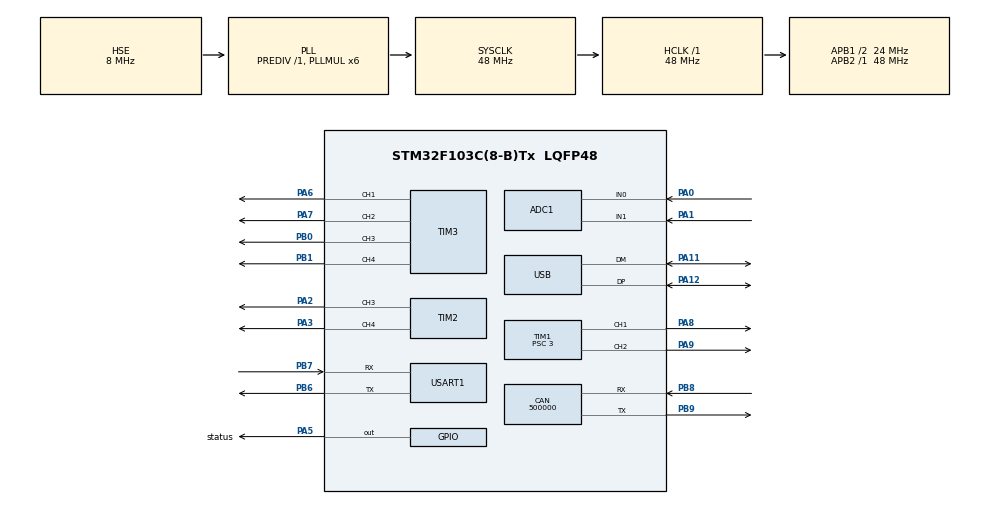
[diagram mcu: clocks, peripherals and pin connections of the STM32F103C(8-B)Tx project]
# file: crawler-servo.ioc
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ADC1.Channel-0\#ChannelRegularConversion=ADC_CHANNEL_0
ADC1.NbrOfConversionFlag=1
ADC1.Rank-0\#ChannelRegularConversion=1
ADC1.SamplingTime-0\#ChannelRegularConversion=ADC_SAMPLETIME_1CYCLE_5
ADC1.master=1
CAN.CalculateBaudRate=500000
CAN.CalculateTimeBit=2000
CAN.CalculateTimeQuantum=666.6666666666666
Mcu.Family=STM32F1
Mcu.Name=STM32F103C(8-B)Tx
Mcu.Package=LQFP48
NVIC.PriorityGroup=NVIC_PRIORITYGROUP_4
NVIC.USB_LP_CAN1_RX0_IRQn=true\:0\:0\:false\:false\:true\:true\:true\:true
PA0-WKUP.Signal=ADCx_IN0
PA1.Signal=ADCx_IN1
PA11.Mode=Device
PA11.Signal=USB_DM
PA12.Mode=Device
PA12.Signal=USB_DP
PA13.Signal=SYS_JTMS-SWDIO
PA14.Signal=SYS_JTCK-SWCLK
PA15.Signal=SYS_JTDI
PA2.Signal=S_TIM2_CH3
PA3.Signal=S_TIM2_CH4
PA5.GPIO_Label=status
PA5.Signal=GPIO_Output
PA6.Signal=S_TIM3_CH1
PA7.Signal=S_TIM3_CH2
PA8.Signal=S_TIM1_CH1
PA9.Signal=S_TIM1_CH2
PB0.Signal=S_TIM3_CH3
PB1.Signal=S_TIM3_CH4
PB3.Signal=SYS_JTDO-TRACESWO
PB6.Mode=Asynchronous
PB6.Signal=USART1_TX
PB7.Mode=Asynchronous
PB7.Signal=USART1_RX
PB8.Mode=CAN_Activate
PB8.Signal=CAN_RX
PB9.Mode=CAN_Activate
PB9.Signal=CAN_TX
PC14-OSC32_IN.Mode=LSE-External-Oscillator
PC14-OSC32_IN.Signal=RCC_OSC32_IN
PC15-OSC32_OUT.Mode=LSE-External-Oscillator
PC15-OSC32_OUT.Signal=RCC_OSC32_OUT
PD0-OSC_IN.Mode=HSE-External-Oscillator
PD0-OSC_IN.Signal=RCC_OSC_IN
PD1-OSC_OUT.Mode=HSE-External-Oscillator
PD1-OSC_OUT.Signal=RCC_OSC_OUT
ProjectManager.HeapSize=0x200
ProjectManager.StackSize=0x400
ProjectManager.TargetToolchain=Makefile
RCC.ADCPresc=RCC_ADCPCLK2_DIV4
RCC.AHBFreq_Value=48000000
RCC.APB1CLKDivider=RCC_HCLK_DIV2
RCC.APB1Freq_Value=24000000
RCC.APB1TimFreq_Value=48000000
RCC.APB2Freq_Value=48000000
RCC.APB2TimFreq_Value=48000000
RCC.HCLKFreq_Value=48000000
RCC.PLLMUL=RCC_PLL_MUL6
RCC.SYSCLKFreq_VALUE=48000000
RCC.SYSCLKSource=RCC_SYSCLKSOURCE_PLLCLK
RCC.USBFreq_Value=48000000
SH.ADCx_IN0.0=ADC1_IN0,IN0
SH.ADCx_IN1.0=ADC1_IN1,IN1
SH.S_TIM1_CH1.0=TIM1_CH1,PWM Generation1 CH1
SH.S_TIM1_CH2.0=TIM1_CH2,PWM Generation2 CH2
SH.S_TIM2_CH3.0=TIM2_CH3,PWM Generation3 CH3
SH.S_TIM2_CH4.0=TIM2_CH4,PWM Generation4 CH4
SH.S_TIM3_CH1.0=TIM3_CH1,PWM Generation1 CH1
SH.S_TIM3_CH2.0=TIM3_CH2,PWM Generation2 CH2
SH.S_TIM3_CH3.0=TIM3_CH3,PWM Generation3 CH3
SH.S_TIM3_CH4.0=TIM3_CH4,PWM Generation4 CH4
TIM1.Channel-Output\ Compare4\ No\ Output=TIM_CHANNEL_4
TIM1.Channel-PWM\ Generation1\ CH1=TIM_CHANNEL_1
TIM1.Channel-PWM\ Generation2\ CH2=TIM_CHANNEL_2
TIM1.Channel-PWM\ Generation3\ No\ Output=TIM_CHANNEL_3
TIM1.ClockDivision=TIM_CLOCKDIVISION_DIV1
TIM1.Period=40000
TIM1.Prescaler=3
TIM2.Channel-PWM\ Generation3\ CH3=TIM_CHANNEL_3
TIM2.Channel-PWM\ Generation4\ CH4=TIM_CHANNEL_4
TIM3.Channel-PWM\ Generation1\ CH1=TIM_CHANNEL_1
TIM3.Channel-PWM\ Generation2\ CH2=TIM_CHANNEL_2
TIM3.Channel-PWM\ Generation3\ CH3=TIM_CHANNEL_3
TIM3.Channel-PWM\ Generation4\ CH4=TIM_CHANNEL_4
USART1.VirtualMode=VM_ASYNC
VP_SYS_VS_ND.Mode=No_Debug
VP_TIM1_VS_ClockSourceINT.Mode=Internal
VP_TIM1_VS_no_output3.Mode=PWM Generation3 No Output
VP_TIM1_VS_no_output4.Mode=Output Compare4 No Output
VP_TIM2_VS_ClockSourceINT.Mode=Internal
VP_TIM3_VS_ClockSourceINT.Mode=Internal
board=custom

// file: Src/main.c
/* USER CODE BEGIN Header */
/**
  ******************************************************************************
  * @file           : main.c
  * @brief          : Main program body
  ******************************************************************************
  * @attention
  *
  * Copyright (c) 2023 STMicroelectronics.
  * All rights reserved.
  *
  * This software is licensed under terms that can be found in the LICENSE file
  * in the root directory of this software component.
  * If no LICENSE file comes with this software, it is provided AS-IS.
  *
  ******************************************************************************
  */
/* USER CODE END Header */
#include "main.h"

ADC_HandleTypeDef hadc1;

CAN_HandleTypeDef hcan;

TIM_HandleTypeDef htim1;
TIM_HandleTypeDef htim2;
TIM_HandleTypeDef htim3;

UART_HandleTypeDef huart1;

PCD_HandleTypeDef hpcd_USB_FS;

/* USER CODE BEGIN PV */
CAN_RxHeaderTypeDef rxHeader; //CAN Bus Transmit Header
CAN_TxHeaderTypeDef txHeader; //CAN Bus Receive Header
uint8_t canRX[8] = {0,0,0,0,0,0,0,0};  //CAN Bus Receive Buffer
CAN_FilterTypeDef canfil; //CAN Bus Filter
uint32_t canMailbox; //CAN Bus Mail box variable
/* USER CODE END PV */

void SystemClock_Config(void);
static void MX_GPIO_Init(void);
static void MX_ADC1_Init(void);
static void MX_CAN_Init(void);
static void MX_TIM1_Init(void);
static void MX_TIM2_Init(void);
static void MX_TIM3_Init(void);
static void MX_USART1_UART_Init(void);
static void MX_USB_PCD_Init(void);

int main(void)
{

  /* MCU Configuration--------------------------------------------------------*/

  /* Reset of all peripherals, Initializes the Flash interface and the Systick. */
  HAL_Init();

  /* Configure the system clock */
  SystemClock_Config();

  /* Initialize all configured peripherals */
  MX_GPIO_Init();
  MX_ADC1_Init();
  MX_CAN_Init();
  MX_TIM1_Init();
  MX_TIM2_Init();
  MX_TIM3_Init();
  MX_USART1_UART_Init();
  MX_USB_PCD_Init();
  /* USER CODE BEGIN 2 */

    //HAL_CAN_Start(&hcan);
  txHeader.DLC = 8;
  txHeader.IDE = CAN_ID_STD;
  txHeader.RTR = CAN_RTR_DATA;
  txHeader.StdId = 0x030;
  txHeader.ExtId = 0x02;
  txHeader.TransmitGlobalTime = DISABLE;

  canfil.FilterBank = 0;
  canfil.FilterMode = CAN_FILTERMODE_IDMASK;
  canfil.FilterFIFOAssignment = CAN_RX_FIFO0;
  canfil.FilterIdHigh = 0;
  canfil.FilterIdLow = 0;
  canfil.FilterMaskIdHigh = 0;
  canfil.FilterMaskIdLow = 0;
  canfil.FilterScale = CAN_FILTERSCALE_32BIT;
  canfil.FilterActivation = ENABLE;
  canfil.SlaveStartFilterBank = 14;
  HAL_CAN_ConfigFilter(&hcan,&canfil); //Initialize CAN Filter
  HAL_CAN_Start(&hcan); //Initialize CAN Bus
  HAL_CAN_ActivateNotification(&hcan,CAN_IT_RX_FIFO0_MSG_PENDING);// Initialize CAN Bus Rx Interrupt

  //TIM1->CCR1 = 30;
  HAL_TIM_Base_Start_IT(&htim1);
  HAL_TIM_PWM_Start(&htim1, TIM_CHANNEL_1);
  //__HAL_TIM_SET_COMPARE(&htim1, TIM_CHANNEL_1, 200);
  /* USER CODE END 2 */

  /* Infinite loop */
  /* USER CODE BEGIN WHILE */
  uint32_t txMailbox;
  while (1)
  {
    HAL_GPIO_WritePin(status_GPIO_Port, status_Pin, GPIO_PIN_SET);
	// transmit
	if (HAL_CAN_GetTxMailboxesFreeLevel(&hcan) > 0){
	    //CAN_TxHeaderTypedef txHeader;
		uint8_t data[] = {0xa,0xf};
		HAL_CAN_AddTxMessage(&hcan, &txHeader, data, &txMailbox);
	}

	//receive
    /*
	uint8_t data[8];
	CAN_RxHeaderTypeDef rxHeader;
	while (HAL_CAN_GetRxFifoFillLevel(&hcan, CAN_RX_FIFO0)){
		HAL_CAN_GetRxMessage(&hcan, CAN_RX_FIFO0, &rxHeader, data);

		//channel = rxId - BASE_ADRESS;

		// check that channel is valid
		//if ( channel > 3 )
		//	return 1;

		// check that data is within range
		//if ( rxData > SERVO_RESOLUTION )
		//	 return 2;

		// translate given value to servo pwm
		//pwmValue = ( PWM_MIN + PWM_RANGE * rxData/SERVO_RESOLUTION ) / PWM_PERIOD;

		// set pwm
		//pwm( channel, pwmValue );
	}*/
    HAL_GPIO_WritePin(status_GPIO_Port, status_Pin, GPIO_PIN_RESET);
    HAL_Delay(1000);
    /* USER CODE END WHILE */

  }
}

void SystemClock_Config(void)
{
  RCC_OscInitTypeDef RCC_OscInitStruct = {0};
  RCC_ClkInitTypeDef RCC_ClkInitStruct = {0};
  RCC_PeriphCLKInitTypeDef PeriphClkInit = {0};

  /** Initializes the RCC Oscillators according to the specified parameters
  * in the RCC_OscInitTypeDef structure.
  */
  RCC_OscInitStruct.OscillatorType = RCC_OSCILLATORTYPE_HSE;
  RCC_OscInitStruct.HSEState = RCC_HSE_ON;
  RCC_OscInitStruct.HSEPredivValue = RCC_HSE_PREDIV_DIV1;
  RCC_OscInitStruct.HSIState = RCC_HSI_ON;
  RCC_OscInitStruct.PLL.PLLState = RCC_PLL_ON;
  RCC_OscInitStruct.PLL.PLLSource = RCC_PLLSOURCE_HSE;
  RCC_OscInitStruct.PLL.PLLMUL = RCC_PLL_MUL6;
  if (HAL_RCC_OscConfig(&RCC_OscInitStruct) != HAL_OK)
  {
    Error_Handler();
  }

  /** Initializes the CPU, AHB and APB buses clocks
  */
  RCC_ClkInitStruct.ClockType = RCC_CLOCKTYPE_HCLK|RCC_CLOCKTYPE_SYSCLK
                              |RCC_CLOCKTYPE_PCLK1|RCC_CLOCKTYPE_PCLK2;
  RCC_ClkInitStruct.SYSCLKSource = RCC_SYSCLKSOURCE_PLLCLK;
  RCC_ClkInitStruct.AHBCLKDivider = RCC_SYSCLK_DIV1;
  RCC_ClkInitStruct.APB1CLKDivider = RCC_HCLK_DIV2;
  RCC_ClkInitStruct.APB2CLKDivider = RCC_HCLK_DIV1;

  if (HAL_RCC_ClockConfig(&RCC_ClkInitStruct, FLASH_LATENCY_1) != HAL_OK)
  {
    Error_Handler();
  }
  PeriphClkInit.PeriphClockSelection = RCC_PERIPHCLK_ADC|RCC_PERIPHCLK_USB;
  PeriphClkInit.AdcClockSelection = RCC_ADCPCLK2_DIV4;
  PeriphClkInit.UsbClockSelection = RCC_USBCLKSOURCE_PLL;
  if (HAL_RCCEx_PeriphCLKConfig(&PeriphClkInit) != HAL_OK)
  {
    Error_Handler();
  }
}

static void MX_ADC1_Init(void)
{

  ADC_ChannelConfTypeDef sConfig = {0};

  /** Common config
  */
  hadc1.Instance = ADC1;
  hadc1.Init.ScanConvMode = ADC_SCAN_DISABLE;
  hadc1.Init.ContinuousConvMode = DISABLE;
  hadc1.Init.DiscontinuousConvMode = DISABLE;
  hadc1.Init.ExternalTrigConv = ADC_SOFTWARE_START;
  hadc1.Init.DataAlign = ADC_DATAALIGN_RIGHT;
  hadc1.Init.NbrOfConversion = 1;
  if (HAL_ADC_Init(&hadc1) != HAL_OK)
  {
    Error_Handler();
  }

  /** Configure Regular Channel
  */
  sConfig.Channel = ADC_CHANNEL_0;
  sConfig.Rank = ADC_REGULAR_RANK_1;
  sConfig.SamplingTime = ADC_SAMPLETIME_1CYCLE_5;
  if (HAL_ADC_ConfigChannel(&hadc1, &sConfig) != HAL_OK)
  {
    Error_Handler();
  }

}

static void MX_CAN_Init(void)
{

  hcan.Instance = CAN1;
  hcan.Init.Prescaler = 16;
  hcan.Init.Mode = CAN_MODE_NORMAL;
  hcan.Init.SyncJumpWidth = CAN_SJW_1TQ;
  hcan.Init.TimeSeg1 = CAN_BS1_1TQ;
  hcan.Init.TimeSeg2 = CAN_BS2_1TQ;
  hcan.Init.TimeTriggeredMode = DISABLE;
  hcan.Init.AutoBusOff = DISABLE;
  hcan.Init.AutoWakeUp = DISABLE;
  hcan.Init.AutoRetransmission = DISABLE;
  hcan.Init.ReceiveFifoLocked = DISABLE;
  hcan.Init.TransmitFifoPriority = DISABLE;
  if (HAL_CAN_Init(&hcan) != HAL_OK)
  {
    Error_Handler();
  }

}

static void MX_TIM1_Init(void)
{

  TIM_ClockConfigTypeDef sClockSourceConfig = {0};
  TIM_MasterConfigTypeDef sMasterConfig = {0};
  TIM_OC_InitTypeDef sConfigOC = {0};
  TIM_BreakDeadTimeConfigTypeDef sBreakDeadTimeConfig = {0};

  htim1.Instance = TIM1;
  htim1.Init.Prescaler = 3;
  htim1.Init.CounterMode = TIM_COUNTERMODE_UP;
  htim1.Init.Period = 40000;
  htim1.Init.ClockDivision = TIM_CLOCKDIVISION_DIV1;
  htim1.Init.RepetitionCounter = 0;
  htim1.Init.AutoReloadPreload = TIM_AUTORELOAD_PRELOAD_DISABLE;
  if (HAL_TIM_Base_Init(&htim1) != HAL_OK)
  {
    Error_Handler();
  }
  sClockSourceConfig.ClockSource = TIM_CLOCKSOURCE_INTERNAL;
  if (HAL_TIM_ConfigClockSource(&htim1, &sClockSourceConfig) != HAL_OK)
  {
    Error_Handler();
  }
  if (HAL_TIM_PWM_Init(&htim1) != HAL_OK)
  {
    Error_Handler();
  }
  if (HAL_TIM_OC_Init(&htim1) != HAL_OK)
  {
    Error_Handler();
  }
  sMasterConfig.MasterOutputTrigger = TIM_TRGO_RESET;
  sMasterConfig.MasterSlaveMode = TIM_MASTERSLAVEMODE_DISABLE;
  if (HAL_TIMEx_MasterConfigSynchronization(&htim1, &sMasterConfig) != HAL_OK)
  {
    Error_Handler();
  }
  sConfigOC.OCMode = TIM_OCMODE_PWM1;
  sConfigOC.Pulse = 0;
  sConfigOC.OCPolarity = TIM_OCPOLARITY_HIGH;
  sConfigOC.OCNPolarity = TIM_OCNPOLARITY_HIGH;
  sConfigOC.OCFastMode = TIM_OCFAST_DISABLE;
  sConfigOC.OCIdleState = TIM_OCIDLESTATE_RESET;
  sConfigOC.OCNIdleState = TIM_OCNIDLESTATE_RESET;
  if (HAL_TIM_PWM_ConfigChannel(&htim1, &sConfigOC, TIM_CHANNEL_1) != HAL_OK)
  {
    Error_Handler();
  }
  if (HAL_TIM_PWM_ConfigChannel(&htim1, &sConfigOC, TIM_CHANNEL_2) != HAL_OK)
  {
    Error_Handler();
  }
  if (HAL_TIM_PWM_ConfigChannel(&htim1, &sConfigOC, TIM_CHANNEL_3) != HAL_OK)
  {
    Error_Handler();
  }
  sConfigOC.OCMode = TIM_OCMODE_TIMING;
  if (HAL_TIM_OC_ConfigChannel(&htim1, &sConfigOC, TIM_CHANNEL_4) != HAL_OK)
  {
    Error_Handler();
  }
  sBreakDeadTimeConfig.OffStateRunMode = TIM_OSSR_DISABLE;
  sBreakDeadTimeConfig.OffStateIDLEMode = TIM_OSSI_DISABLE;
  sBreakDeadTimeConfig.LockLevel = TIM_LOCKLEVEL_OFF;
  sBreakDeadTimeConfig.DeadTime = 0;
  sBreakDeadTimeConfig.BreakState = TIM_BREAK_DISABLE;
  sBreakDeadTimeConfig.BreakPolarity = TIM_BREAKPOLARITY_HIGH;
  sBreakDeadTimeConfig.AutomaticOutput = TIM_AUTOMATICOUTPUT_DISABLE;
  if (HAL_TIMEx_ConfigBreakDeadTime(&htim1, &sBreakDeadTimeConfig) != HAL_OK)
  {
    Error_Handler();
  }
  HAL_TIM_MspPostInit(&htim1);

}

static void MX_TIM2_Init(void)
{

  TIM_ClockConfigTypeDef sClockSourceConfig = {0};
  TIM_MasterConfigTypeDef sMasterConfig = {0};
  TIM_OC_InitTypeDef sConfigOC = {0};

  htim2.Instance = TIM2;
  htim2.Init.Prescaler = 0;
  htim2.Init.CounterMode = TIM_COUNTERMODE_UP;
  htim2.Init.Period = 65535;
  htim2.Init.ClockDivision = TIM_CLOCKDIVISION_DIV1;
  htim2.Init.AutoReloadPreload = TIM_AUTORELOAD_PRELOAD_DISABLE;
  if (HAL_TIM_Base_Init(&htim2) != HAL_OK)
  {
    Error_Handler();
  }
  sClockSourceConfig.ClockSource = TIM_CLOCKSOURCE_INTERNAL;
  if (HAL_TIM_ConfigClockSource(&htim2, &sClockSourceConfig) != HAL_OK)
  {
    Error_Handler();
  }
  if (HAL_TIM_PWM_Init(&htim2) != HAL_OK)
  {
    Error_Handler();
  }
  sMasterConfig.MasterOutputTrigger = TIM_TRGO_RESET;
  sMasterConfig.MasterSlaveMode = TIM_MASTERSLAVEMODE_DISABLE;
  if (HAL_TIMEx_MasterConfigSynchronization(&htim2, &sMasterConfig) != HAL_OK)
  {
    Error_Handler();
  }
  sConfigOC.OCMode = TIM_OCMODE_PWM1;
  sConfigOC.Pulse = 0;
  sConfigOC.OCPolarity = TIM_OCPOLARITY_HIGH;
  sConfigOC.OCFastMode = TIM_OCFAST_DISABLE;
  if (HAL_TIM_PWM_ConfigChannel(&htim2, &sConfigOC, TIM_CHANNEL_3) != HAL_OK)
  {
    Error_Handler();
  }
  if (HAL_TIM_PWM_ConfigChannel(&htim2, &sConfigOC, TIM_CHANNEL_4) != HAL_OK)
  {
    Error_Handler();
  }
  HAL_TIM_MspPostInit(&htim2);

}

static void MX_TIM3_Init(void)
{

  TIM_ClockConfigTypeDef sClockSourceConfig = {0};
  TIM_MasterConfigTypeDef sMasterConfig = {0};
  TIM_OC_InitTypeDef sConfigOC = {0};

  htim3.Instance = TIM3;
  htim3.Init.Prescaler = 0;
  htim3.Init.CounterMode = TIM_COUNTERMODE_UP;
  htim3.Init.Period = 65535;
  htim3.Init.ClockDivision = TIM_CLOCKDIVISION_DIV1;
  htim3.Init.AutoReloadPreload = TIM_AUTORELOAD_PRELOAD_DISABLE;
  if (HAL_TIM_Base_Init(&htim3) != HAL_OK)
  {
    Error_Handler();
  }
  sClockSourceConfig.ClockSource = TIM_CLOCKSOURCE_INTERNAL;
  if (HAL_TIM_ConfigClockSource(&htim3, &sClockSourceConfig) != HAL_OK)
  {
    Error_Handler();
  }
  if (HAL_TIM_PWM_Init(&htim3) != HAL_OK)
  {
    Error_Handler();
  }
  sMasterConfig.MasterOutputTrigger = TIM_TRGO_RESET;
  sMasterConfig.MasterSlaveMode = TIM_MASTERSLAVEMODE_DISABLE;
  if (HAL_TIMEx_MasterConfigSynchronization(&htim3, &sMasterConfig) != HAL_OK)
  {
    Error_Handler();
  }
  sConfigOC.OCMode = TIM_OCMODE_PWM1;
  sConfigOC.Pulse = 0;
  sConfigOC.OCPolarity = TIM_OCPOLARITY_HIGH;
  sConfigOC.OCFastMode = TIM_OCFAST_DISABLE;
  if (HAL_TIM_PWM_ConfigChannel(&htim3, &sConfigOC, TIM_CHANNEL_1) != HAL_OK)
  {
    Error_Handler();
  }
  if (HAL_TIM_PWM_ConfigChannel(&htim3, &sConfigOC, TIM_CHANNEL_2) != HAL_OK)
  {
    Error_Handler();
  }
  if (HAL_TIM_PWM_ConfigChannel(&htim3, &sConfigOC, TIM_CHANNEL_3) != HAL_OK)
  {
    Error_Handler();
  }
  if (HAL_TIM_PWM_ConfigChannel(&htim3, &sConfigOC, TIM_CHANNEL_4) != HAL_OK)
  {
    Error_Handler();
  }
  HAL_TIM_MspPostInit(&htim3);

}

static void MX_USART1_UART_Init(void)
{

  huart1.Instance = USART1;
  huart1.Init.BaudRate = 115200;
  huart1.Init.WordLength = UART_WORDLENGTH_8B;
  huart1.Init.StopBits = UART_STOPBITS_1;
  huart1.Init.Parity = UART_PARITY_NONE;
  huart1.Init.Mode = UART_MODE_TX_RX;
  huart1.Init.HwFlowCtl = UART_HWCONTROL_NONE;
  huart1.Init.OverSampling = UART_OVERSAMPLING_16;
  if (HAL_UART_Init(&huart1) != HAL_OK)
  {
    Error_Handler();
  }

}

static void MX_USB_PCD_Init(void)
{

  hpcd_USB_FS.Instance = USB;
  hpcd_USB_FS.Init.dev_endpoints = 8;
  hpcd_USB_FS.Init.speed = PCD_SPEED_FULL;
  hpcd_USB_FS.Init.low_power_enable = DISABLE;
  hpcd_USB_FS.Init.lpm_enable = DISABLE;
  hpcd_USB_FS.Init.battery_charging_enable = DISABLE;
  if (HAL_PCD_Init(&hpcd_USB_FS) != HAL_OK)
  {
    Error_Handler();
  }

}

static void MX_GPIO_Init(void)
{
  GPIO_InitTypeDef GPIO_InitStruct = {0};

  /* GPIO Ports Clock Enable */
  __HAL_RCC_GPIOC_CLK_ENABLE();
  __HAL_RCC_GPIOD_CLK_ENABLE();
  __HAL_RCC_GPIOA_CLK_ENABLE();
  __HAL_RCC_GPIOB_CLK_ENABLE();

  /*Configure GPIO pin Output Level */
  HAL_GPIO_WritePin(status_GPIO_Port, status_Pin, GPIO_PIN_RESET);

  /*Configure GPIO pin : status_Pin */
  GPIO_InitStruct.Pin = status_Pin;
  GPIO_InitStruct.Mode = GPIO_MODE_OUTPUT_PP;
  GPIO_InitStruct.Pull = GPIO_NOPULL;
  GPIO_InitStruct.Speed = GPIO_SPEED_FREQ_LOW;
  HAL_GPIO_Init(status_GPIO_Port, &GPIO_InitStruct);

}

/* USER CODE BEGIN 4 */
L_CAN_RxFifo0MsgPendingCallback(CAN_HandleTypeDef *hcan1)
{
    HAL_GPIO_WritePin(status_GPIO_Port, status_Pin, GPIO_PIN_SET);
	HAL_CAN_GetRxMessage(hcan1, CAN_RX_FIFO0, &rxHeader, canRX); //Receive CAN bus message to canRX buffer

}

/* USER CODE END 4 */

void Error_Handler(void)
{
  __disable_irq();
  while (1)
  {
  }
}
